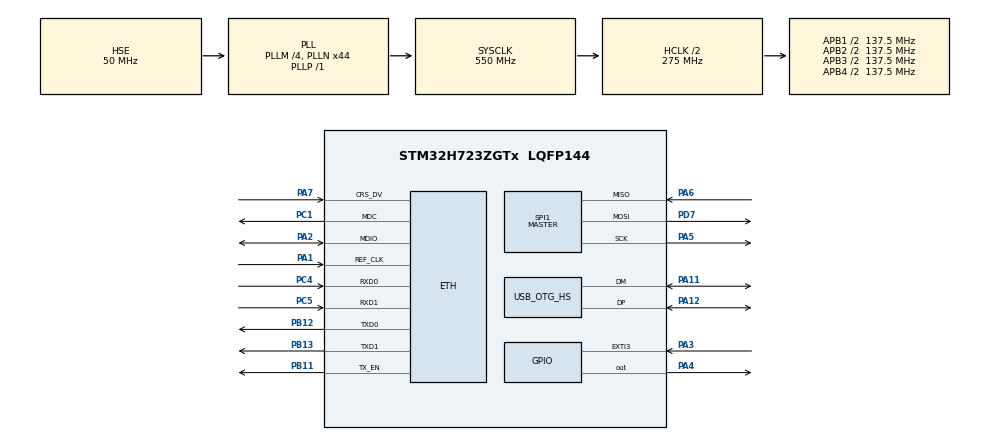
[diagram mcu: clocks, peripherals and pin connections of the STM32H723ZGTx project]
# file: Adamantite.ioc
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CORTEX_M7.default_mode_Activation=1
Dma.MEMTOMEM.0.Direction=DMA_MEMORY_TO_MEMORY
Dma.MEMTOMEM.0.EventEnable=DISABLE
Dma.MEMTOMEM.0.FIFOMode=DMA_FIFOMODE_ENABLE
Dma.MEMTOMEM.0.FIFOThreshold=DMA_FIFO_THRESHOLD_FULL
Dma.MEMTOMEM.0.Instance=DMA1_Stream0
Dma.MEMTOMEM.0.MemBurst=DMA_MBURST_SINGLE
Dma.MEMTOMEM.0.MemDataAlignment=DMA_MDATAALIGN_BYTE
Dma.MEMTOMEM.0.MemInc=DMA_MINC_ENABLE
Dma.MEMTOMEM.0.Mode=DMA_NORMAL
Dma.MEMTOMEM.0.PeriphBurst=DMA_PBURST_SINGLE
Dma.MEMTOMEM.0.PeriphDataAlignment=DMA_PDATAALIGN_BYTE
Dma.MEMTOMEM.0.PeriphInc=DMA_PINC_ENABLE
Dma.MEMTOMEM.0.Polarity=HAL_DMAMUX_REQ_GEN_RISING
Dma.MEMTOMEM.0.Priority=DMA_PRIORITY_LOW
Dma.MEMTOMEM.0.RequestNumber=1
Dma.MEMTOMEM.0.SignalID=NONE
Dma.MEMTOMEM.0.SyncEnable=DISABLE
Dma.MEMTOMEM.0.SyncPolarity=HAL_DMAMUX_SYNC_NO_EVENT
Dma.MEMTOMEM.0.SyncRequestNumber=1
Dma.MEMTOMEM.0.SyncSignalID=NONE
Dma.MEMTOMEM.1.Direction=DMA_MEMORY_TO_MEMORY
Dma.MEMTOMEM.1.EventEnable=DISABLE
Dma.MEMTOMEM.1.FIFOMode=DMA_FIFOMODE_ENABLE
Dma.MEMTOMEM.1.FIFOThreshold=DMA_FIFO_THRESHOLD_FULL
Dma.MEMTOMEM.1.Instance=DMA1_Stream1
Dma.MEMTOMEM.1.MemBurst=DMA_MBURST_SINGLE
Dma.MEMTOMEM.1.MemDataAlignment=DMA_MDATAALIGN_BYTE
Dma.MEMTOMEM.1.MemInc=DMA_MINC_ENABLE
Dma.MEMTOMEM.1.Mode=DMA_NORMAL
Dma.MEMTOMEM.1.PeriphBurst=DMA_PBURST_SINGLE
Dma.MEMTOMEM.1.PeriphDataAlignment=DMA_PDATAALIGN_BYTE
Dma.MEMTOMEM.1.PeriphInc=DMA_PINC_ENABLE
Dma.MEMTOMEM.1.Polarity=HAL_DMAMUX_REQ_GEN_RISING
Dma.MEMTOMEM.1.Priority=DMA_PRIORITY_LOW
Dma.MEMTOMEM.1.RequestNumber=1
Dma.MEMTOMEM.1.SignalID=NONE
Dma.MEMTOMEM.1.SyncEnable=DISABLE
Dma.MEMTOMEM.1.SyncPolarity=HAL_DMAMUX_SYNC_NO_EVENT
Dma.MEMTOMEM.1.SyncRequestNumber=1
Dma.MEMTOMEM.1.SyncSignalID=NONE
Dma.MEMTOMEM.2.Direction=DMA_MEMORY_TO_MEMORY
Dma.MEMTOMEM.2.EventEnable=DISABLE
Dma.MEMTOMEM.2.FIFOMode=DMA_FIFOMODE_ENABLE
Dma.MEMTOMEM.2.FIFOThreshold=DMA_FIFO_THRESHOLD_FULL
Dma.MEMTOMEM.2.Instance=DMA1_Stream2
Dma.MEMTOMEM.2.MemBurst=DMA_MBURST_SINGLE
Dma.MEMTOMEM.2.MemDataAlignment=DMA_MDATAALIGN_BYTE
Dma.MEMTOMEM.2.MemInc=DMA_MINC_ENABLE
Dma.MEMTOMEM.2.Mode=DMA_NORMAL
Dma.MEMTOMEM.2.PeriphBurst=DMA_PBURST_SINGLE
Dma.MEMTOMEM.2.PeriphDataAlignment=DMA_PDATAALIGN_BYTE
Dma.MEMTOMEM.2.PeriphInc=DMA_PINC_ENABLE
Dma.MEMTOMEM.2.Polarity=HAL_DMAMUX_REQ_GEN_RISING
Dma.MEMTOMEM.2.Priority=DMA_PRIORITY_LOW
Dma.MEMTOMEM.2.RequestNumber=1
Dma.MEMTOMEM.2.SignalID=NONE
Dma.MEMTOMEM.2.SyncEnable=DISABLE
Dma.MEMTOMEM.2.SyncPolarity=HAL_DMAMUX_SYNC_NO_EVENT
Dma.MEMTOMEM.2.SyncRequestNumber=1
Dma.MEMTOMEM.2.SyncSignalID=NONE
Dma.MEMTOMEM.3.Direction=DMA_MEMORY_TO_MEMORY
Dma.MEMTOMEM.3.EventEnable=DISABLE
Dma.MEMTOMEM.3.FIFOMode=DMA_FIFOMODE_ENABLE
Dma.MEMTOMEM.3.FIFOThreshold=DMA_FIFO_THRESHOLD_FULL
Dma.MEMTOMEM.3.Instance=DMA1_Stream3
Dma.MEMTOMEM.3.MemBurst=DMA_MBURST_SINGLE
Dma.MEMTOMEM.3.MemDataAlignment=DMA_MDATAALIGN_BYTE
Dma.MEMTOMEM.3.MemInc=DMA_MINC_ENABLE
Dma.MEMTOMEM.3.Mode=DMA_NORMAL
Dma.MEMTOMEM.3.PeriphBurst=DMA_PBURST_SINGLE
Dma.MEMTOMEM.3.PeriphDataAlignment=DMA_PDATAALIGN_BYTE
Dma.MEMTOMEM.3.PeriphInc=DMA_PINC_ENABLE
Dma.MEMTOMEM.3.Polarity=HAL_DMAMUX_REQ_GEN_RISING
Dma.MEMTOMEM.3.Priority=DMA_PRIORITY_LOW
Dma.MEMTOMEM.3.RequestNumber=1
Dma.MEMTOMEM.3.SignalID=NONE
Dma.MEMTOMEM.3.SyncEnable=DISABLE
Dma.MEMTOMEM.3.SyncPolarity=HAL_DMAMUX_SYNC_NO_EVENT
Dma.MEMTOMEM.3.SyncRequestNumber=1
Dma.MEMTOMEM.3.SyncSignalID=NONE
Dma.MEMTOMEM.4.Direction=DMA_MEMORY_TO_MEMORY
Dma.MEMTOMEM.4.EventEnable=DISABLE
Dma.MEMTOMEM.4.FIFOMode=DMA_FIFOMODE_ENABLE
Dma.MEMTOMEM.4.FIFOThreshold=DMA_FIFO_THRESHOLD_FULL
Dma.MEMTOMEM.4.Instance=DMA1_Stream4
Dma.MEMTOMEM.4.MemBurst=DMA_MBURST_SINGLE
Dma.MEMTOMEM.4.MemDataAlignment=DMA_MDATAALIGN_BYTE
Dma.MEMTOMEM.4.MemInc=DMA_MINC_ENABLE
Dma.MEMTOMEM.4.Mode=DMA_NORMAL
Dma.MEMTOMEM.4.PeriphBurst=DMA_PBURST_SINGLE
Dma.MEMTOMEM.4.PeriphDataAlignment=DMA_PDATAALIGN_BYTE
Dma.MEMTOMEM.4.PeriphInc=DMA_PINC_ENABLE
Dma.MEMTOMEM.4.Polarity=HAL_DMAMUX_REQ_GEN_RISING
Dma.MEMTOMEM.4.Priority=DMA_PRIORITY_LOW
Dma.MEMTOMEM.4.RequestNumber=1
Dma.MEMTOMEM.4.SignalID=NONE
Dma.MEMTOMEM.4.SyncEnable=DISABLE
Dma.MEMTOMEM.4.SyncPolarity=HAL_DMAMUX_SYNC_NO_EVENT
Dma.MEMTOMEM.4.SyncRequestNumber=1
Dma.MEMTOMEM.4.SyncSignalID=NONE
Dma.MEMTOMEM.5.Direction=DMA_MEMORY_TO_MEMORY
Dma.MEMTOMEM.5.EventEnable=DISABLE
Dma.MEMTOMEM.5.FIFOMode=DMA_FIFOMODE_ENABLE
Dma.MEMTOMEM.5.FIFOThreshold=DMA_FIFO_THRESHOLD_FULL
Dma.MEMTOMEM.5.Instance=DMA1_Stream5
Dma.MEMTOMEM.5.MemBurst=DMA_MBURST_SINGLE
Dma.MEMTOMEM.5.MemDataAlignment=DMA_MDATAALIGN_BYTE
Dma.MEMTOMEM.5.MemInc=DMA_MINC_ENABLE
Dma.MEMTOMEM.5.Mode=DMA_NORMAL
Dma.MEMTOMEM.5.PeriphBurst=DMA_PBURST_SINGLE
Dma.MEMTOMEM.5.PeriphDataAlignment=DMA_PDATAALIGN_BYTE
Dma.MEMTOMEM.5.PeriphInc=DMA_PINC_ENABLE
Dma.MEMTOMEM.5.Polarity=HAL_DMAMUX_REQ_GEN_RISING
Dma.MEMTOMEM.5.Priority=DMA_PRIORITY_LOW
Dma.MEMTOMEM.5.RequestNumber=1
Dma.MEMTOMEM.5.SignalID=NONE
Dma.MEMTOMEM.5.SyncEnable=DISABLE
Dma.MEMTOMEM.5.SyncPolarity=HAL_DMAMUX_SYNC_NO_EVENT
Dma.MEMTOMEM.5.SyncRequestNumber=1
Dma.MEMTOMEM.5.SyncSignalID=NONE
Dma.Request0=MEMTOMEM
Dma.Request1=MEMTOMEM
Dma.Request2=MEMTOMEM
Dma.Request3=MEMTOMEM
Dma.Request4=MEMTOMEM
Dma.Request5=MEMTOMEM
Dma.Request6=SPI1_RX
Dma.Request7=SPI1_TX
Dma.SPI1_RX.6.Direction=DMA_PERIPH_TO_MEMORY
Dma.SPI1_RX.6.EventEnable=DISABLE
Dma.SPI1_RX.6.FIFOMode=DMA_FIFOMODE_DISABLE
Dma.SPI1_RX.6.Instance=DMA1_Stream6
Dma.SPI1_RX.6.MemDataAlignment=DMA_MDATAALIGN_BYTE
Dma.SPI1_RX.6.MemInc=DMA_MINC_ENABLE
Dma.SPI1_RX.6.Mode=DMA_NORMAL
Dma.SPI1_RX.6.PeriphDataAlignment=DMA_PDATAALIGN_BYTE
Dma.SPI1_RX.6.PeriphInc=DMA_PINC_DISABLE
Dma.SPI1_RX.6.Polarity=HAL_DMAMUX_REQ_GEN_RISING
Dma.SPI1_RX.6.Priority=DMA_PRIORITY_LOW
Dma.SPI1_RX.6.RequestNumber=1
Dma.SPI1_RX.6.SignalID=NONE
Dma.SPI1_RX.6.SyncEnable=DISABLE
Dma.SPI1_RX.6.SyncPolarity=HAL_DMAMUX_SYNC_NO_EVENT
Dma.SPI1_RX.6.SyncRequestNumber=1
Dma.SPI1_RX.6.SyncSignalID=NONE
Dma.SPI1_TX.7.Direction=DMA_MEMORY_TO_PERIPH
Dma.SPI1_TX.7.EventEnable=DISABLE
Dma.SPI1_TX.7.FIFOMode=DMA_FIFOMODE_DISABLE
Dma.SPI1_TX.7.Instance=DMA1_Stream7
Dma.SPI1_TX.7.MemDataAlignment=DMA_MDATAALIGN_BYTE
Dma.SPI1_TX.7.MemInc=DMA_MINC_ENABLE
Dma.SPI1_TX.7.Mode=DMA_NORMAL
Dma.SPI1_TX.7.PeriphDataAlignment=DMA_PDATAALIGN_BYTE
Dma.SPI1_TX.7.PeriphInc=DMA_PINC_DISABLE
Dma.SPI1_TX.7.Polarity=HAL_DMAMUX_REQ_GEN_RISING
Dma.SPI1_TX.7.Priority=DMA_PRIORITY_LOW
Dma.SPI1_TX.7.RequestNumber=1
Dma.SPI1_TX.7.SignalID=NONE
Dma.SPI1_TX.7.SyncEnable=DISABLE
Dma.SPI1_TX.7.SyncPolarity=HAL_DMAMUX_SYNC_NO_EVENT
Dma.SPI1_TX.7.SyncRequestNumber=1
Dma.SPI1_TX.7.SyncSignalID=NONE
ETH.MediaInterface=HAL_ETH_RMII_MODE
Mcu.Family=STM32H7
Mcu.Name=STM32H723ZGTx
Mcu.Package=LQFP144
NVIC.DMA1_Stream0_IRQn=true\:0\:0\:false\:false\:true\:true\:true\:true
NVIC.DMA1_Stream1_IRQn=true\:0\:0\:false\:false\:true\:true\:true\:true
NVIC.DMA1_Stream2_IRQn=true\:0\:0\:false\:false\:true\:true\:true\:true
NVIC.DMA1_Stream3_IRQn=true\:0\:0\:false\:false\:true\:true\:true\:true
NVIC.DMA1_Stream4_IRQn=true\:0\:0\:false\:false\:true\:true\:true\:true
NVIC.DMA1_Stream5_IRQn=true\:0\:0\:false\:false\:true\:true\:true\:true
NVIC.DMA1_Stream6_IRQn=true\:0\:0\:false\:false\:true\:false\:true\:true
NVIC.DMA1_Stream7_IRQn=true\:0\:0\:false\:false\:true\:false\:true\:true
NVIC.ETH_IRQn=true\:0\:0\:false\:false\:true\:true\:true\:true
NVIC.EXTI3_IRQn=true\:0\:0\:false\:false\:true\:true\:true\:true
NVIC.OTG_HS_IRQn=true\:0\:0\:false\:false\:true\:false\:true\:true
NVIC.PriorityGroup=NVIC_PRIORITYGROUP_4
NVIC.SPI1_IRQn=true\:0\:0\:false\:false\:true\:false\:true\:true
PA1.Mode=RMII
PA1.Signal=ETH_REF_CLK
PA11.Mode=Device_Only_FS
PA11.Signal=USB_OTG_HS_DM
PA12.Mode=Device_Only_FS
PA12.Signal=USB_OTG_HS_DP
PA2.Mode=RMII
PA2.Signal=ETH_MDIO
PA3.Signal=GPXTI3
PA4.GPIO_Speed=GPIO_SPEED_FREQ_HIGH
PA4.PinState=GPIO_PIN_SET
PA4.Signal=GPIO_Output
PA5.GPIO_Speed=GPIO_SPEED_FREQ_VERY_HIGH
PA5.Mode=Full_Duplex_Master
PA5.Signal=SPI1_SCK
PA6.GPIO_Speed=GPIO_SPEED_FREQ_VERY_HIGH
PA6.Mode=Full_Duplex_Master
PA6.Signal=SPI1_MISO
PA7.Mode=RMII
PA7.Signal=ETH_CRS_DV
PB11.Mode=RMII
PB11.Signal=ETH_TX_EN
PB12.Mode=RMII
PB12.Signal=ETH_TXD0
PB13.Mode=RMII
PB13.Signal=ETH_TXD1
PC1.Mode=RMII
PC1.Signal=ETH_MDC
PC4.Mode=RMII
PC4.Signal=ETH_RXD0
PC5.Mode=RMII
PC5.Signal=ETH_RXD1
PD7.GPIO_Speed=GPIO_SPEED_FREQ_VERY_HIGH
PD7.Mode=Full_Duplex_Master
PD7.Signal=SPI1_MOSI
PH0-OSC_IN.Mode=HSE-External-Oscillator
PH0-OSC_IN.Signal=RCC_OSC_IN
PH1-OSC_OUT.Mode=HSE-External-Oscillator
PH1-OSC_OUT.Signal=RCC_OSC_OUT
ProjectManager.HeapSize=0x200
ProjectManager.StackSize=0x400
ProjectManager.TargetToolchain=STM32CubeIDE
RCC.ADCFreq_Value=100781250
RCC.APB1Freq_Value=137500000
RCC.APB2Freq_Value=137500000
RCC.APB3Freq_Value=137500000
RCC.APB4Freq_Value=137500000
RCC.CortexFreq_Value=550000000
RCC.D1PPRE=RCC_APB3_DIV2
RCC.D2PPRE1=RCC_APB1_DIV2
RCC.D2PPRE2=RCC_APB2_DIV2
RCC.D3PPRE=RCC_APB4_DIV2
RCC.DIVM1=4
RCC.DIVN1=44
RCC.DIVP1=1
RCC.HCLKFreq_Value=275000000
RCC.HPRE=RCC_HCLK_DIV2
RCC.HSE_VALUE=50000000
RCC.PLLSourceVirtual=RCC_PLLSOURCE_HSE
RCC.SPI123CLockSelection=RCC_SPI123CLKSOURCE_PLL3
RCC.SYSCLKFreq_VALUE=550000000
RCC.SYSCLKSource=RCC_SYSCLKSOURCE_PLLCLK
RCC.USBCLockSelection=RCC_USBCLKSOURCE_HSI48
RCC.USBFreq_Value=48000000
SPI1.BaudRatePrescaler=SPI_BAUDRATEPRESCALER_2
SPI1.CalculateBaudRate=50.390625 MBits/s
SPI1.DataSize=SPI_DATASIZE_8BIT
SPI1.Direction=SPI_DIRECTION_2LINES
SPI1.Mode=SPI_MODE_MASTER
SPI1.NSSPMode=SPI_NSS_PULSE_DISABLE
SPI1.VirtualType=VM_MASTER
USB_DEVICE.CLASS_NAME_HS=CDC
USB_DEVICE.VirtualMode=Cdc
USB_DEVICE.VirtualModeHS=Cdc_HS
USB_OTG_HS.VirtualMode-Device_Only_FS=Device_Only_FS
VP_MEMORYMAP_VS_MEMORYMAP.Mode=CurAppReg
VP_USB_DEVICE_VS_USB_DEVICE_CDC_HS.Mode=CDC_HS
board=custom

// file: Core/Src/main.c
/* USER CODE BEGIN Header */
/**
  ******************************************************************************
  * @file           : main.c
  * @brief          : Main program body
  ******************************************************************************
  * @attention
  *
  * Copyright (c) 2026 STMicroelectronics.
  * All rights reserved.
  *
  * This software is licensed under terms that can be found in the LICENSE file
  * in the root directory of this software component.
  * If no LICENSE file comes with this software, it is provided AS-IS.
  *
  ******************************************************************************
  */
/* USER CODE END Header */
#include "main.h"
#include "string.h"
#include "usb_device.h"

/* USER CODE BEGIN Includes */
#include "wan.h"
#include <stdio.h>
#include "usb_fs.h"
#include "dm9051.h"
#include "log.h"
/* USER CODE END Includes */

/* USER CODE BEGIN PTD */
#include "elastic_queue.h"
#include "dma_mem_to_mem.h"

// Define custom sizes based on traffic volume
#define QUEUE_WAN_USB_SIZE 30720 // 30 KB for WAN and USB
#define QUEUE_WAN_USB_MAX_REFS 100
#define LAN_COUNT     	   4
#define INTERFACE_COUNT    6
#define QUEUE_LAN_SIZE     15360 // 15 KB for LAN ports
#define QUEUE_LAN_MAX_REFS     50

// WAN Queues (High Traffic)
ElasticQueue_t wan_rx_queue;
ElasticQueue_t wan_tx_queue;
uint8_t wan_rx_area[QUEUE_WAN_USB_SIZE];
uint8_t wan_tx_area[QUEUE_WAN_USB_SIZE];
ElasticQueueRef_t wan_rx_refs[QUEUE_WAN_USB_MAX_REFS];
ElasticQueueRef_t wan_tx_refs[QUEUE_WAN_USB_MAX_REFS];

// USB Queues (High Traffic - Sniffer)
ElasticQueue_t usb_rx_queue;
ElasticQueue_t usb_tx_queue;
uint8_t usb_rx_area[QUEUE_WAN_USB_SIZE];
uint8_t usb_tx_area[QUEUE_WAN_USB_SIZE];
ElasticQueueRef_t usb_rx_refs[QUEUE_WAN_USB_MAX_REFS];
ElasticQueueRef_t usb_tx_refs[QUEUE_WAN_USB_MAX_REFS];

// LAN Queues (4 Ports - Lower Traffic per port)
ElasticQueue_t lan_rx_queues[LAN_COUNT];
ElasticQueue_t lan_tx_queues[LAN_COUNT];
uint8_t lan_rx_areas[LAN_COUNT][QUEUE_LAN_SIZE];
uint8_t lan_tx_areas[LAN_COUNT][QUEUE_LAN_SIZE];
ElasticQueueRef_t lan_rx_refs[LAN_COUNT][QUEUE_LAN_MAX_REFS];
ElasticQueueRef_t lan_tx_refs[LAN_COUNT][QUEUE_LAN_MAX_REFS];
/* USER CODE END PTD */

#if defined ( __ICCARM__ ) /*!< IAR Compiler */
#pragma location=0x30000000
ETH_DMADescTypeDef  DMARxDscrTab[ETH_RX_DESC_CNT]; /* Ethernet Rx DMA Descriptors */
#pragma location=0x30000080
ETH_DMADescTypeDef  DMATxDscrTab[ETH_TX_DESC_CNT]; /* Ethernet Tx DMA Descriptors */

#elif defined ( __CC_ARM )  /* MDK ARM Compiler */

__attribute__((at(0x30000000))) ETH_DMADescTypeDef  DMARxDscrTab[ETH_RX_DESC_CNT]; /* Ethernet Rx DMA Descriptors */
__attribute__((at(0x30000080))) ETH_DMADescTypeDef  DMATxDscrTab[ETH_TX_DESC_CNT]; /* Ethernet Tx DMA Descriptors */

#elif defined ( __GNUC__ ) /* GNU Compiler */

ETH_DMADescTypeDef DMARxDscrTab[ETH_RX_DESC_CNT] __attribute__((section(".RxDescripSection"))); /* Ethernet Rx DMA Descriptors */
ETH_DMADescTypeDef DMATxDscrTab[ETH_TX_DESC_CNT] __attribute__((section(".TxDescripSection")));   /* Ethernet Tx DMA Descriptors */
#endif

ETH_TxPacketConfig TxConfig;

ETH_HandleTypeDef heth;

SPI_HandleTypeDef hspi1;
DMA_HandleTypeDef hdma_spi1_rx;
DMA_HandleTypeDef hdma_spi1_tx;

DMA_HandleTypeDef hdma_memtomem_dma1_stream0;
DMA_HandleTypeDef hdma_memtomem_dma1_stream1;
DMA_HandleTypeDef hdma_memtomem_dma1_stream2;
DMA_HandleTypeDef hdma_memtomem_dma1_stream3;
DMA_HandleTypeDef hdma_memtomem_dma1_stream4;
DMA_HandleTypeDef hdma_memtomem_dma1_stream5;
/* USER CODE BEGIN PV */
uint8_t global_dma_trash_buffer[ETH_BUFFER_SIZE];

DM9051_HandleTypeDef hdm9051_1;
uint8_t dm9051_mac[6] = {0x02, 0x00, 0x00, 0x11, 0x22, 0x33}; // Locally administered MAC

// NULLs allowed in this array
DM9051_HandleTypeDef* lan_dm9051_interfaces[LAN_COUNT] = { &hdm9051_1, NULL, NULL, NULL };

// Buffer for WAN send test
uint8_t wan_test_frame[64] = {
    0xE8, 0x6A, 0x64, 0x89, 0x09, 0x2D, // Destination MAC: e8:6A:64:89:09:2D
    0x02, 0x00, 0x00, 0x11, 0x22, 0x33, // Source MAC (dummy)
    0x08, 0x00,                         // EtherType: IPv4
    'W', 'A', 'N', ' ', 'T', 'E', 'S', 'T' // Payload (remaining bytes will be zero-initialized)
};

/* USER CODE END PV */

void SystemClock_Config(void);
static void MPU_Config(void);
static void MX_GPIO_Init(void);
static void MX_DMA_Init(void);
static void MX_ETH_Init(void);
static void MX_SPI1_Init(void);
/* USER CODE BEGIN PFP */
#include "dma_mem_to_mem.h"

// Wrapper contexts for each DMA stream
DmaMemToMem_t wan_rx_dma_ctx_stream;
DmaMemToMem_t usb_rx_dma_ctx_stream;
DmaMemToMem_t lan1_rx_dma_ctx_stream;
DmaMemToMem_t lan2_rx_dma_ctx_stream;
DmaMemToMem_t lan3_rx_dma_ctx_stream;
DmaMemToMem_t lan4_rx_dma_ctx_stream;

DmaMemToMem_t* const all_dma_streams[INTERFACE_COUNT] = {
    &wan_rx_dma_ctx_stream,
    &usb_rx_dma_ctx_stream,
    &lan1_rx_dma_ctx_stream,
    &lan2_rx_dma_ctx_stream,
    &lan3_rx_dma_ctx_stream,
    &lan4_rx_dma_ctx_stream
};

DmaMemToMem_t* const lan_dma_streams[LAN_COUNT] = {
    &lan1_rx_dma_ctx_stream,
    &lan2_rx_dma_ctx_stream,
    &lan3_rx_dma_ctx_stream,
    &lan4_rx_dma_ctx_stream
};

// HAL DMA callbacks
void HAL_DMA_XferCpltCallback_Stream0(DMA_HandleTypeDef *hdma) { DmaMemToMem_TransferComplete(&wan_rx_dma_ctx_stream); }
void HAL_DMA_XferCpltCallback_Stream1(DMA_HandleTypeDef *hdma) { DmaMemToMem_TransferComplete(&usb_rx_dma_ctx_stream); }
void HAL_DMA_XferCpltCallback_Stream2(DMA_HandleTypeDef *hdma) { DmaMemToMem_TransferComplete(&lan1_rx_dma_ctx_stream); }
void HAL_DMA_XferCpltCallback_Stream3(DMA_HandleTypeDef *hdma) { DmaMemToMem_TransferComplete(&lan2_rx_dma_ctx_stream); }
void HAL_DMA_XferCpltCallback_Stream4(DMA_HandleTypeDef *hdma) { DmaMemToMem_TransferComplete(&lan3_rx_dma_ctx_stream); }
void HAL_DMA_XferCpltCallback_Stream5(DMA_HandleTypeDef *hdma) { DmaMemToMem_TransferComplete(&lan4_rx_dma_ctx_stream); }
/* USER CODE END PFP */

/* USER CODE BEGIN 0 */
void LED_Init(void)
{
    // Enable GPIOG clock
    __HAL_RCC_GPIOG_CLK_ENABLE();

    GPIO_InitTypeDef GPIO_InitStruct = {0};
    GPIO_InitStruct.Pin = GPIO_PIN_7;
    GPIO_InitStruct.Mode = GPIO_MODE_OUTPUT_PP;
    GPIO_InitStruct.Pull = GPIO_NOPULL;
    GPIO_InitStruct.Speed = GPIO_SPEED_FREQ_LOW;

    HAL_GPIO_Init(GPIOG, &GPIO_InitStruct);
}

static uint8_t g_eth_tx_frame[60] __attribute__((aligned(32)));

void send_raw_frame(void)
{
    ETH_BufferTypeDef txBuffer = {0};

    txBuffer.buffer = wan_test_frame;
    txBuffer.len = sizeof(wan_test_frame);
    txBuffer.next = NULL;

    TxConfig.TxBuffer = &txBuffer;
    TxConfig.Length = sizeof(wan_test_frame);

#if (__DCACHE_PRESENT == 1U)
    SCB_CleanDCache_by_Addr((uint32_t *)wan_test_frame, 64);
#endif

    if (HAL_ETH_Transmit(&heth, &TxConfig, 1000) != HAL_OK) {
        Error_Handler();
    }
}

void test_add_to_transmit_queue(void)
{
	ElasticQueue_t *q = &wan_tx_queue;
//	ElasticQueue_t *q = &lan_tx_queues[0];
	ElasticQueueRef_t* test_ref = ElasticQueue_Allocate(q, 64);
	if (test_ref) {
		memcpy(test_ref->data, wan_test_frame, sizeof(wan_test_frame));
		test_ref->len = sizeof(wan_test_frame);
		ElasticQueue_Commit(q, test_ref);
	}
}

void main_loop(void) {
	/* Infinite loop */
	while (1)
	{
		// test_add_to_transmit_queue();

		// 1) DMA RX-to-TX start. Trigger: can lock RX queue.
		if (ElasticQueue_IsLockable(&wan_rx_queue)) {
		    if (DmaMemToMem_IsReady(&wan_rx_dma_ctx_stream)) {
	            uint8_t *out_buf;
	            size_t out_len;
	            if (ElasticQueue_Lock(&wan_rx_queue, 2, &out_buf, &out_len) == ELASTIC_QUEUE_OK) {
	                ElasticQueue_t *dests[] = { &usb_tx_queue, &lan_tx_queues[0] };
	                DmaMemToMem_StartBroadcast(&wan_rx_dma_ctx_stream, dests, 2);
	            }
		    }
		}
		if (ElasticQueue_IsLockable(&usb_rx_queue)) {
			// TODO: implement
		}
		for (int i = 0; i < LAN_COUNT; i++) {
			if (ElasticQueue_IsLockable(&lan_rx_queues[i])) {
				if (lan_dm9051_interfaces[i] != NULL) {
				    if (DmaMemToMem_IsReady(lan_dma_streams[i])) {
			            uint8_t *out_buf;
			            size_t out_len;
			            if (ElasticQueue_Lock(&lan_rx_queues[i], 2, &out_buf, &out_len) == ELASTIC_QUEUE_OK) {
			                ElasticQueue_t *dests[] = { &usb_tx_queue, &wan_tx_queue };
			                DmaMemToMem_StartBroadcast(lan_dma_streams[i], dests, 2);
			            }
				    }
				} // TODO: else try ENCJ?
			}
		}

		// ----------------------------------------------------------

		// 2) DMA RX-to-TX continue. Trigger: DmaMemToMem_t in state DMA_STATE_TRANSFER_DONE.
		for (int i = 0; i < INTERFACE_COUNT; i++) {
			if (all_dma_streams[i]->state == DMA_STATE_TRANSFER_DONE) {
				DmaMemToMem_Process(all_dma_streams[i]);
			}
		}

		// ----------------------------------------------------------

		// 3) HW to RX. Trigger: flag set by HW IRQ, implementation may vary for HW.
		WAN_TriggerPacketRead();

		for (int i = 0; i < LAN_COUNT; i++) {
    		DM9051_HandleTypeDef* lan_dm9051 = lan_dm9051_interfaces[i];
		    if (lan_dm9051 && lan_dm9051->dma_status == DM9051_DMA_READY) {
		    	DM9051_ReadPacket_DMA_Start(lan_dm9051);
		    }
		}

        /*// 4) Check for MAC/DMA silent death and recover
        if (heth.gState == HAL_ETH_STATE_ERROR) {
            Log_Printf("ETH DEAD! err=0x%lx dma=0x%lx\r\n",
                       (unsigned long)heth.ErrorCode, (unsigned long)heth.DMAErrorCode);

            // Try to force restart
            HAL_ETH_Stop(&heth);
            HAL_ETH_Start_IT(&heth);
        } else if (heth.gState == HAL_ETH_STATE_STARTED && (heth.Instance->DMACSR & ETH_DMACSR_RBU)) {
            // Stuck in RBU without HAL knowing? (Shouldn't happen, but just in case)
            heth.Instance->DMACSR = ETH_DMACSR_RBU; // Clear flag
            // Dummy write to tail pointer to wake up DMA
            heth.Instance->DMACRDTPR = 0;
        }*/

		// TODO: implement the rest

		// ----------------------------------------------------------

		// 4) TX to HW. Trigger: can lock TX queue, implementation may vary for HW.
		if (!wan_tx_busy && ElasticQueue_IsLockable(&wan_tx_queue)) {
            uint8_t *out_buf;
            size_t out_len;
            if (ElasticQueue_Lock(&wan_tx_queue, 1, &out_buf, &out_len) == ELASTIC_QUEUE_OK) {
                if (WAN_TransmitPacket(out_buf, out_len) != 0) {
                    ElasticQueue_Abort(&wan_tx_queue);
                }
            }
		}
		if (ElasticQueue_IsLockable(&usb_tx_queue)) {
            uint8_t *out_buf;
            size_t out_len;
            if (ElasticQueue_Lock(&usb_tx_queue, 1, &out_buf, &out_len) == ELASTIC_QUEUE_OK) {
                // TODO: DMA to USB
            	Demo_ReportPacket(out_buf, out_len, wan_rx_queue.num_refs);
                ElasticQueue_Done(&usb_tx_queue);
            }
		}
		for (int i = 0; i < LAN_COUNT; i++) {
            DM9051_HandleTypeDef* lan_dm9051 = lan_dm9051_interfaces[i];
            if (lan_dm9051) {
    			if (lan_dm9051->dma_status == DM9051_DMA_READY && ElasticQueue_IsLockable(lan_dm9051->lan_tx_queue)) {
					DM9051_WritePacket_DMA(lan_dm9051_interfaces[i]);
    			}
			} // else try ENCJ?
		}
	}
}
/* USER CODE END 0 */

int main(void)
{

  /* MPU Configuration--------------------------------------------------------*/
  MPU_Config();

  /* MCU Configuration--------------------------------------------------------*/

  /* Reset of all peripherals, Initializes the Flash interface and the Systick. */
  HAL_Init();

  /* Configure the system clock */
  SystemClock_Config();

  /* Initialize all configured peripherals */
  MX_GPIO_Init();
  MX_DMA_Init();
  MX_USB_DEVICE_Init();
  MX_ETH_Init();
  MX_SPI1_Init();
  /* USER CODE BEGIN 2 */
  // Initialize all Elastic Queues
  ElasticQueue_Init(&wan_rx_queue, wan_rx_area, QUEUE_WAN_USB_SIZE, wan_rx_refs, QUEUE_WAN_USB_MAX_REFS);
  ElasticQueue_Init(&wan_tx_queue, wan_tx_area, QUEUE_WAN_USB_SIZE, wan_tx_refs, QUEUE_WAN_USB_MAX_REFS);

  ElasticQueue_Init(&usb_rx_queue, usb_rx_area, QUEUE_WAN_USB_SIZE, usb_rx_refs, QUEUE_WAN_USB_MAX_REFS);
  ElasticQueue_Init(&usb_tx_queue, usb_tx_area, QUEUE_WAN_USB_SIZE, usb_tx_refs, QUEUE_WAN_USB_MAX_REFS);

  for (int i = 0; i < LAN_COUNT; i++) {
      ElasticQueue_Init(&lan_rx_queues[i], lan_rx_areas[i], QUEUE_LAN_SIZE, lan_rx_refs[i], QUEUE_LAN_MAX_REFS);
      ElasticQueue_Init(&lan_tx_queues[i], lan_tx_areas[i], QUEUE_LAN_SIZE, lan_tx_refs[i], QUEUE_LAN_MAX_REFS);
  }

  hdm9051_1.hspi = &hspi1;
  hdm9051_1.hdma_rx = &hdma_spi1_rx;
  hdm9051_1.hdma_tx = &hdma_spi1_tx;
  hdm9051_1.cs_port = GPIOA;
  hdm9051_1.cs_pin = GPIO_PIN_4;
  hdm9051_1.lan_rx_queue = &lan_rx_queues[0]; // Assuming DM9051 maps to LAN Port 1
  hdm9051_1.lan_tx_queue = &lan_tx_queues[0];
  DM9051_Init(&hdm9051_1, dm9051_mac);

  // Initialize DMA Wrappers
  DmaMemToMem_Init(&wan_rx_dma_ctx_stream, &hdma_memtomem_dma1_stream0, &wan_rx_queue);
  DmaMemToMem_Init(&usb_rx_dma_ctx_stream, &hdma_memtomem_dma1_stream1, &usb_rx_queue);
  DmaMemToMem_Init(&lan1_rx_dma_ctx_stream, &hdma_memtomem_dma1_stream2, &lan_rx_queues[0]);
  DmaMemToMem_Init(&lan2_rx_dma_ctx_stream, &hdma_memtomem_dma1_stream3, &lan_rx_queues[1]);
  DmaMemToMem_Init(&lan3_rx_dma_ctx_stream, &hdma_memtomem_dma1_stream4, &lan_rx_queues[2]);
  DmaMemToMem_Init(&lan4_rx_dma_ctx_stream, &hdma_memtomem_dma1_stream5, &lan_rx_queues[3]);

  // Register HAL completion callbacks
  HAL_DMA_RegisterCallback(&hdma_memtomem_dma1_stream0, HAL_DMA_XFER_CPLT_CB_ID, HAL_DMA_XferCpltCallback_Stream0);
  HAL_DMA_RegisterCallback(&hdma_memtomem_dma1_stream1, HAL_DMA_XFER_CPLT_CB_ID, HAL_DMA_XferCpltCallback_Stream1);
  HAL_DMA_RegisterCallback(&hdma_memtomem_dma1_stream2, HAL_DMA_XFER_CPLT_CB_ID, HAL_DMA_XferCpltCallback_Stream2);
  HAL_DMA_RegisterCallback(&hdma_memtomem_dma1_stream3, HAL_DMA_XFER_CPLT_CB_ID, HAL_DMA_XferCpltCallback_Stream3);
  HAL_DMA_RegisterCallback(&hdma_memtomem_dma1_stream4, HAL_DMA_XFER_CPLT_CB_ID, HAL_DMA_XferCpltCallback_Stream4);
  HAL_DMA_RegisterCallback(&hdma_memtomem_dma1_stream5, HAL_DMA_XFER_CPLT_CB_ID, HAL_DMA_XferCpltCallback_Stream5);

  // Start ETH in interrupt mode
  if (HAL_ETH_Start_IT(&heth) != HAL_OK)
  {
    Error_Handler();
  }

  // This is needed for sniffer
  ETH_MACFilterConfigTypeDef filter;
  HAL_ETH_GetMACFilterConfig(&heth, &filter);
  filter.PromiscuousMode = ENABLE;
  filter.ReceiveAllMode  = ENABLE;
  HAL_ETH_SetMACFilterConfig(&heth, &filter);

  /* USER CODE END 2 */

  /* Infinite loop */
  while (1)
  {

    /* USER CODE BEGIN 3 */
    main_loop();
  }
  /* USER CODE END 3 */
}

void SystemClock_Config(void)
{
  RCC_OscInitTypeDef RCC_OscInitStruct = {0};
  RCC_ClkInitTypeDef RCC_ClkInitStruct = {0};

  /** Supply configuration update enable
  */
  HAL_PWREx_ConfigSupply(PWR_LDO_SUPPLY);

  /** Configure the main internal regulator output voltage
  */
  __HAL_PWR_VOLTAGESCALING_CONFIG(PWR_REGULATOR_VOLTAGE_SCALE0);

  while(!__HAL_PWR_GET_FLAG(PWR_FLAG_VOSRDY)) {}

  /** Initializes the RCC Oscillators according to the specified parameters
  * in the RCC_OscInitTypeDef structure.
  */
  RCC_OscInitStruct.OscillatorType = RCC_OSCILLATORTYPE_HSI48|RCC_OSCILLATORTYPE_HSE;
  RCC_OscInitStruct.HSEState = RCC_HSE_ON;
  RCC_OscInitStruct.HSI48State = RCC_HSI48_ON;
  RCC_OscInitStruct.PLL.PLLState = RCC_PLL_ON;
  RCC_OscInitStruct.PLL.PLLSource = RCC_PLLSOURCE_HSE;
  RCC_OscInitStruct.PLL.PLLM = 4;
  RCC_OscInitStruct.PLL.PLLN = 44;
  RCC_OscInitStruct.PLL.PLLP = 1;
  RCC_OscInitStruct.PLL.PLLQ = 2;
  RCC_OscInitStruct.PLL.PLLR = 2;
  RCC_OscInitStruct.PLL.PLLRGE = RCC_PLL1VCIRANGE_3;
  RCC_OscInitStruct.PLL.PLLVCOSEL = RCC_PLL1VCOWIDE;
  RCC_OscInitStruct.PLL.PLLFRACN = 0;
  if (HAL_RCC_OscConfig(&RCC_OscInitStruct) != HAL_OK)
  {
    Error_Handler();
  }

  /** Initializes the CPU, AHB and APB buses clocks
  */
  RCC_ClkInitStruct.ClockType = RCC_CLOCKTYPE_HCLK|RCC_CLOCKTYPE_SYSCLK
                              |RCC_CLOCKTYPE_PCLK1|RCC_CLOCKTYPE_PCLK2
                              |RCC_CLOCKTYPE_D3PCLK1|RCC_CLOCKTYPE_D1PCLK1;
  RCC_ClkInitStruct.SYSCLKSource = RCC_SYSCLKSOURCE_PLLCLK;
  RCC_ClkInitStruct.SYSCLKDivider = RCC_SYSCLK_DIV1;
  RCC_ClkInitStruct.AHBCLKDivider = RCC_HCLK_DIV2;
  RCC_ClkInitStruct.APB3CLKDivider = RCC_APB3_DIV2;
  RCC_ClkInitStruct.APB1CLKDivider = RCC_APB1_DIV2;
  RCC_ClkInitStruct.APB2CLKDivider = RCC_APB2_DIV2;
  RCC_ClkInitStruct.APB4CLKDivider = RCC_APB4_DIV2;

  if (HAL_RCC_ClockConfig(&RCC_ClkInitStruct, FLASH_LATENCY_3) != HAL_OK)
  {
    Error_Handler();
  }
}

static void MX_ETH_Init(void)
{

   static uint8_t MACAddr[6];

  heth.Instance = ETH;
  MACAddr[0] = 0x00;
  MACAddr[1] = 0x80;
  MACAddr[2] = 0xE1;
  MACAddr[3] = 0x00;
  MACAddr[4] = 0x00;
  MACAddr[5] = 0x00;
  heth.Init.MACAddr = &MACAddr[0];
  heth.Init.MediaInterface = HAL_ETH_RMII_MODE;
  heth.Init.TxDesc = DMATxDscrTab;
  heth.Init.RxDesc = DMARxDscrTab;
  heth.Init.RxBuffLen = 1536;

  if (HAL_ETH_Init(&heth) != HAL_OK)
  {
    Error_Handler();
  }

  memset(&TxConfig, 0, sizeof(ETH_TxPacketConfig));
  TxConfig.Attributes   = ETH_TX_PACKETS_FEATURES_CRCPAD;
  TxConfig.ChecksumCtrl = ETH_CHECKSUM_DISABLE;
  TxConfig.CRCPadCtrl   = ETH_CRC_PAD_INSERT;

  ETH_MACConfigTypeDef macConfig;
  HAL_ETH_GetMACConfig(&heth, &macConfig);
  macConfig.AutomaticPadCRCStrip = DISABLE;
  macConfig.CRCStripTypePacket = DISABLE;
  HAL_ETH_SetMACConfig(&heth, &macConfig);
  /* USER CODE END ETH_Init 2 */

}

static void MX_SPI1_Init(void)
{

  /* SPI1 parameter configuration*/
  hspi1.Instance = SPI1;
  hspi1.Init.Mode = SPI_MODE_MASTER;
  hspi1.Init.Direction = SPI_DIRECTION_2LINES;
  hspi1.Init.DataSize = SPI_DATASIZE_8BIT;
  hspi1.Init.CLKPolarity = SPI_POLARITY_LOW;
  hspi1.Init.CLKPhase = SPI_PHASE_1EDGE;
  hspi1.Init.NSS = SPI_NSS_SOFT;
  hspi1.Init.BaudRatePrescaler = SPI_BAUDRATEPRESCALER_2;
  hspi1.Init.FirstBit = SPI_FIRSTBIT_MSB;
  hspi1.Init.TIMode = SPI_TIMODE_DISABLE;
  hspi1.Init.CRCCalculation = SPI_CRCCALCULATION_DISABLE;
  hspi1.Init.CRCPolynomial = 0x0;
  hspi1.Init.NSSPMode = SPI_NSS_PULSE_DISABLE;
  hspi1.Init.NSSPolarity = SPI_NSS_POLARITY_LOW;
  hspi1.Init.FifoThreshold = SPI_FIFO_THRESHOLD_01DATA;
  hspi1.Init.TxCRCInitializationPattern = SPI_CRC_INITIALIZATION_ALL_ZERO_PATTERN;
  hspi1.Init.RxCRCInitializationPattern = SPI_CRC_INITIALIZATION_ALL_ZERO_PATTERN;
  hspi1.Init.MasterSSIdleness = SPI_MASTER_SS_IDLENESS_00CYCLE;
  hspi1.Init.MasterInterDataIdleness = SPI_MASTER_INTERDATA_IDLENESS_00CYCLE;
  hspi1.Init.MasterReceiverAutoSusp = SPI_MASTER_RX_AUTOSUSP_DISABLE;
  hspi1.Init.MasterKeepIOState = SPI_MASTER_KEEP_IO_STATE_DISABLE;
  hspi1.Init.IOSwap = SPI_IO_SWAP_DISABLE;
  if (HAL_SPI_Init(&hspi1) != HAL_OK)
  {
    Error_Handler();
  }

}

static void MX_DMA_Init(void)
{

  /* DMA controller clock enable */
  __HAL_RCC_DMA1_CLK_ENABLE();

  /* Configure DMA request hdma_memtomem_dma1_stream0 on DMA1_Stream0 */
  hdma_memtomem_dma1_stream0.Instance = DMA1_Stream0;
  hdma_memtomem_dma1_stream0.Init.Request = DMA_REQUEST_MEM2MEM;
  hdma_memtomem_dma1_stream0.Init.Direction = DMA_MEMORY_TO_MEMORY;
  hdma_memtomem_dma1_stream0.Init.PeriphInc = DMA_PINC_ENABLE;
  hdma_memtomem_dma1_stream0.Init.MemInc = DMA_MINC_ENABLE;
  hdma_memtomem_dma1_stream0.Init.PeriphDataAlignment = DMA_PDATAALIGN_BYTE;
  hdma_memtomem_dma1_stream0.Init.MemDataAlignment = DMA_MDATAALIGN_BYTE;
  hdma_memtomem_dma1_stream0.Init.Mode = DMA_NORMAL;
  hdma_memtomem_dma1_stream0.Init.Priority = DMA_PRIORITY_LOW;
  hdma_memtomem_dma1_stream0.Init.FIFOMode = DMA_FIFOMODE_ENABLE;
  hdma_memtomem_dma1_stream0.Init.FIFOThreshold = DMA_FIFO_THRESHOLD_FULL;
  hdma_memtomem_dma1_stream0.Init.MemBurst = DMA_MBURST_SINGLE;
  hdma_memtomem_dma1_stream0.Init.PeriphBurst = DMA_PBURST_SINGLE;
  if (HAL_DMA_Init(&hdma_memtomem_dma1_stream0) != HAL_OK)
  {
    Error_Handler( );
  }

  /* Configure DMA request hdma_memtomem_dma1_stream1 on DMA1_Stream1 */
  hdma_memtomem_dma1_stream1.Instance = DMA1_Stream1;
  hdma_memtomem_dma1_stream1.Init.Request = DMA_REQUEST_MEM2MEM;
  hdma_memtomem_dma1_stream1.Init.Direction = DMA_MEMORY_TO_MEMORY;
  hdma_memtomem_dma1_stream1.Init.PeriphInc = DMA_PINC_ENABLE;
  hdma_memtomem_dma1_stream1.Init.MemInc = DMA_MINC_ENABLE;
  hdma_memtomem_dma1_stream1.Init.PeriphDataAlignment = DMA_PDATAALIGN_BYTE;
  hdma_memtomem_dma1_stream1.Init.MemDataAlignment = DMA_MDATAALIGN_BYTE;
  hdma_memtomem_dma1_stream1.Init.Mode = DMA_NORMAL;
  hdma_memtomem_dma1_stream1.Init.Priority = DMA_PRIORITY_LOW;
  hdma_memtomem_dma1_stream1.Init.FIFOMode = DMA_FIFOMODE_ENABLE;
  hdma_memtomem_dma1_stream1.Init.FIFOThreshold = DMA_FIFO_THRESHOLD_FULL;
  hdma_memtomem_dma1_stream1.Init.MemBurst = DMA_MBURST_SINGLE;
  hdma_memtomem_dma1_stream1.Init.PeriphBurst = DMA_PBURST_SINGLE;
  if (HAL_DMA_Init(&hdma_memtomem_dma1_stream1) != HAL_OK)
  {
    Error_Handler( );
  }

  /* Configure DMA request hdma_memtomem_dma1_stream2 on DMA1_Stream2 */
  hdma_memtomem_dma1_stream2.Instance = DMA1_Stream2;
  hdma_memtomem_dma1_stream2.Init.Request = DMA_REQUEST_MEM2MEM;
  hdma_memtomem_dma1_stream2.Init.Direction = DMA_MEMORY_TO_MEMORY;
  hdma_memtomem_dma1_stream2.Init.PeriphInc = DMA_PINC_ENABLE;
  hdma_memtomem_dma1_stream2.Init.MemInc = DMA_MINC_ENABLE;
  hdma_memtomem_dma1_stream2.Init.PeriphDataAlignment = DMA_PDATAALIGN_BYTE;
  hdma_memtomem_dma1_stream2.Init.MemDataAlignment = DMA_MDATAALIGN_BYTE;
  hdma_memtomem_dma1_stream2.Init.Mode = DMA_NORMAL;
  hdma_memtomem_dma1_stream2.Init.Priority = DMA_PRIORITY_LOW;
  hdma_memtomem_dma1_stream2.Init.FIFOMode = DMA_FIFOMODE_ENABLE;
  hdma_memtomem_dma1_stream2.Init.FIFOThreshold = DMA_FIFO_THRESHOLD_FULL;
  hdma_memtomem_dma1_stream2.Init.MemBurst = DMA_MBURST_SINGLE;
  hdma_memtomem_dma1_stream2.Init.PeriphBurst = DMA_PBURST_SINGLE;
  if (HAL_DMA_Init(&hdma_memtomem_dma1_stream2) != HAL_OK)
  {
    Error_Handler( );
  }

  /* Configure DMA request hdma_memtomem_dma1_stream3 on DMA1_Stream3 */
  hdma_memtomem_dma1_stream3.Instance = DMA1_Stream3;
  hdma_memtomem_dma1_stream3.Init.Request = DMA_REQUEST_MEM2MEM;
  hdma_memtomem_dma1_stream3.Init.Direction = DMA_MEMORY_TO_MEMORY;
  hdma_memtomem_dma1_stream3.Init.PeriphInc = DMA_PINC_ENABLE;
  hdma_memtomem_dma1_stream3.Init.MemInc = DMA_MINC_ENABLE;
  hdma_memtomem_dma1_stream3.Init.PeriphDataAlignment = DMA_PDATAALIGN_BYTE;
  hdma_memtomem_dma1_stream3.Init.MemDataAlignment = DMA_MDATAALIGN_BYTE;
  hdma_memtomem_dma1_stream3.Init.Mode = DMA_NORMAL;
  hdma_memtomem_dma1_stream3.Init.Priority = DMA_PRIORITY_LOW;
  hdma_memtomem_dma1_stream3.Init.FIFOMode = DMA_FIFOMODE_ENABLE;
  hdma_memtomem_dma1_stream3.Init.FIFOThreshold = DMA_FIFO_THRESHOLD_FULL;
  hdma_memtomem_dma1_stream3.Init.MemBurst = DMA_MBURST_SINGLE;
  hdma_memtomem_dma1_stream3.Init.PeriphBurst = DMA_PBURST_SINGLE;
  if (HAL_DMA_Init(&hdma_memtomem_dma1_stream3) != HAL_OK)
  {
    Error_Handler( );
  }

  /* Configure DMA request hdma_memtomem_dma1_stream4 on DMA1_Stream4 */
  hdma_memtomem_dma1_stream4.Instance = DMA1_Stream4;
  hdma_memtomem_dma1_stream4.Init.Request = DMA_REQUEST_MEM2MEM;
  hdma_memtomem_dma1_stream4.Init.Direction = DMA_MEMORY_TO_MEMORY;
  hdma_memtomem_dma1_stream4.Init.PeriphInc = DMA_PINC_ENABLE;
  hdma_memtomem_dma1_stream4.Init.MemInc = DMA_MINC_ENABLE;
  hdma_memtomem_dma1_stream4.Init.PeriphDataAlignment = DMA_PDATAALIGN_BYTE;
  hdma_memtomem_dma1_stream4.Init.MemDataAlignment = DMA_MDATAALIGN_BYTE;
  hdma_memtomem_dma1_stream4.Init.Mode = DMA_NORMAL;
  hdma_memtomem_dma1_stream4.Init.Priority = DMA_PRIORITY_LOW;
  hdma_memtomem_dma1_stream4.Init.FIFOMode = DMA_FIFOMODE_ENABLE;
  hdma_memtomem_dma1_stream4.Init.FIFOThreshold = DMA_FIFO_THRESHOLD_FULL;
  hdma_memtomem_dma1_stream4.Init.MemBurst = DMA_MBURST_SINGLE;
  hdma_memtomem_dma1_stream4.Init.PeriphBurst = DMA_PBURST_SINGLE;
  if (HAL_DMA_Init(&hdma_memtomem_dma1_stream4) != HAL_OK)
  {
    Error_Handler( );
  }

  /* Configure DMA request hdma_memtomem_dma1_stream5 on DMA1_Stream5 */
  hdma_memtomem_dma1_stream5.Instance = DMA1_Stream5;
  hdma_memtomem_dma1_stream5.Init.Request = DMA_REQUEST_MEM2MEM;
  hdma_memtomem_dma1_stream5.Init.Direction = DMA_MEMORY_TO_MEMORY;
  hdma_memtomem_dma1_stream5.Init.PeriphInc = DMA_PINC_ENABLE;
  hdma_memtomem_dma1_stream5.Init.MemInc = DMA_MINC_ENABLE;
  hdma_memtomem_dma1_stream5.Init.PeriphDataAlignment = DMA_PDATAALIGN_BYTE;
  hdma_memtomem_dma1_stream5.Init.MemDataAlignment = DMA_MDATAALIGN_BYTE;
  hdma_memtomem_dma1_stream5.Init.Mode = DMA_NORMAL;
  hdma_memtomem_dma1_stream5.Init.Priority = DMA_PRIORITY_LOW;
  hdma_memtomem_dma1_stream5.Init.FIFOMode = DMA_FIFOMODE_ENABLE;
  hdma_memtomem_dma1_stream5.Init.FIFOThreshold = DMA_FIFO_THRESHOLD_FULL;
  hdma_memtomem_dma1_stream5.Init.MemBurst = DMA_MBURST_SINGLE;
  hdma_memtomem_dma1_stream5.Init.PeriphBurst = DMA_PBURST_SINGLE;
  if (HAL_DMA_Init(&hdma_memtomem_dma1_stream5) != HAL_OK)
  {
    Error_Handler( );
  }

  /* DMA interrupt init */
  /* DMA1_Stream0_IRQn interrupt configuration */
  HAL_NVIC_SetPriority(DMA1_Stream0_IRQn, 0, 0);
  HAL_NVIC_EnableIRQ(DMA1_Stream0_IRQn);
  /* DMA1_Stream1_IRQn interrupt configuration */
  HAL_NVIC_SetPriority(DMA1_Stream1_IRQn, 0, 0);
  HAL_NVIC_EnableIRQ(DMA1_Stream1_IRQn);
  /* DMA1_Stream2_IRQn interrupt configuration */
  HAL_NVIC_SetPriority(DMA1_Stream2_IRQn, 0, 0);
  HAL_NVIC_EnableIRQ(DMA1_Stream2_IRQn);
  /* DMA1_Stream3_IRQn interrupt configuration */
  HAL_NVIC_SetPriority(DMA1_Stream3_IRQn, 0, 0);
  HAL_NVIC_EnableIRQ(DMA1_Stream3_IRQn);
  /* DMA1_Stream4_IRQn interrupt configuration */
  HAL_NVIC_SetPriority(DMA1_Stream4_IRQn, 0, 0);
  HAL_NVIC_EnableIRQ(DMA1_Stream4_IRQn);
  /* DMA1_Stream5_IRQn interrupt configuration */
  HAL_NVIC_SetPriority(DMA1_Stream5_IRQn, 0, 0);
  HAL_NVIC_EnableIRQ(DMA1_Stream5_IRQn);
  /* DMA1_Stream6_IRQn interrupt configuration */
  HAL_NVIC_SetPriority(DMA1_Stream6_IRQn, 0, 0);
  HAL_NVIC_EnableIRQ(DMA1_Stream6_IRQn);
  /* DMA1_Stream7_IRQn interrupt configuration */
  HAL_NVIC_SetPriority(DMA1_Stream7_IRQn, 0, 0);
  HAL_NVIC_EnableIRQ(DMA1_Stream7_IRQn);

}

static void MX_GPIO_Init(void)
{
  GPIO_InitTypeDef GPIO_InitStruct = {0};

  /* GPIO Ports Clock Enable */
  __HAL_RCC_GPIOH_CLK_ENABLE();
  __HAL_RCC_GPIOC_CLK_ENABLE();
  __HAL_RCC_GPIOA_CLK_ENABLE();
  __HAL_RCC_GPIOB_CLK_ENABLE();
  __HAL_RCC_GPIOD_CLK_ENABLE();

  /*Configure GPIO pin Output Level */
  HAL_GPIO_WritePin(GPIOA, GPIO_PIN_4, GPIO_PIN_SET);

  /*Configure GPIO pin : PA3 */
  GPIO_InitStruct.Pin = GPIO_PIN_3;
  GPIO_InitStruct.Mode = GPIO_MODE_IT_RISING;
  GPIO_InitStruct.Pull = GPIO_NOPULL;
  HAL_GPIO_Init(GPIOA, &GPIO_InitStruct);

  /*Configure GPIO pin : PA4 */
  GPIO_InitStruct.Pin = GPIO_PIN_4;
  GPIO_InitStruct.Mode = GPIO_MODE_OUTPUT_PP;
  GPIO_InitStruct.Pull = GPIO_NOPULL;
  GPIO_InitStruct.Speed = GPIO_SPEED_FREQ_HIGH;
  HAL_GPIO_Init(GPIOA, &GPIO_InitStruct);

  /* EXTI interrupt init*/
  HAL_NVIC_SetPriority(EXTI3_IRQn, 0, 0);
  HAL_NVIC_EnableIRQ(EXTI3_IRQn);

}

/* USER CODE BEGIN 4 */

void HAL_GPIO_EXTI_Callback(uint16_t GPIO_Pin)
{
    if(GPIO_Pin == GPIO_PIN_3) { // PA3 is DM9051_1 INT
    	DM9051_ProcessInterrupt(&hdm9051_1);
        //Log_Printf("DM9051 EXTI\r\n");
    }
}

void HAL_SPI_ErrorCallback(SPI_HandleTypeDef *hspi)
{
    if(hspi->Instance == SPI1) {
        //Log_Printf("SPI Error! ErrorCode: 0x%08lX\r\n", hspi->ErrorCode);

        // If it is a DMA-related error (bit 4 set)
        //if (hspi->ErrorCode & 0x00000010UL) { // HAL_SPI_ERROR_DMA
            if (hspi->hdmatx != NULL && hspi->hdmatx->ErrorCode != 0) {
                //Log_Printf("TX DMA Error: 0x%08lX\r\n", hspi->hdmatx->ErrorCode);
            }
            if (hspi->hdmarx != NULL && hspi->hdmarx->ErrorCode != 0) {
                //Log_Printf("RX DMA Error: 0x%08lX\r\n", hspi->hdmarx->ErrorCode);
            }
        //}
    }
}
void HAL_SPI_TxRxCpltCallback(SPI_HandleTypeDef *hspi)
{
    if(hspi->Instance == SPI1) {
        DM9051_TxRxCpltCallback(&hdm9051_1);
        //Log_Printf("DM9051 TXRX Cplt\r\n");
    }
}

/* USER CODE END 4 */

 /* MPU Configuration */

void MPU_Config(void)
{
  MPU_Region_InitTypeDef MPU_InitStruct = {0};

  /* Disables the MPU */
  HAL_MPU_Disable();

  /** Initializes and configures the Region and the memory to be protected
  */
  MPU_InitStruct.Enable = MPU_REGION_ENABLE;
  MPU_InitStruct.Number = MPU_REGION_NUMBER0;
  MPU_InitStruct.BaseAddress = 0x0;
  MPU_InitStruct.Size = MPU_REGION_SIZE_4GB;
  MPU_InitStruct.SubRegionDisable = 0x87;
  MPU_InitStruct.TypeExtField = MPU_TEX_LEVEL0;
  MPU_InitStruct.AccessPermission = MPU_REGION_NO_ACCESS;
  MPU_InitStruct.DisableExec = MPU_INSTRUCTION_ACCESS_DISABLE;
  MPU_InitStruct.IsShareable = MPU_ACCESS_SHAREABLE;
  MPU_InitStruct.IsCacheable = MPU_ACCESS_NOT_CACHEABLE;
  MPU_InitStruct.IsBufferable = MPU_ACCESS_NOT_BUFFERABLE;

  HAL_MPU_ConfigRegion(&MPU_InitStruct);
  /* Enables the MPU */
  HAL_MPU_Enable(MPU_PRIVILEGED_DEFAULT);

}

void Error_Handler(void)
{
  __disable_irq();
  while (1)
  {
  }
}
